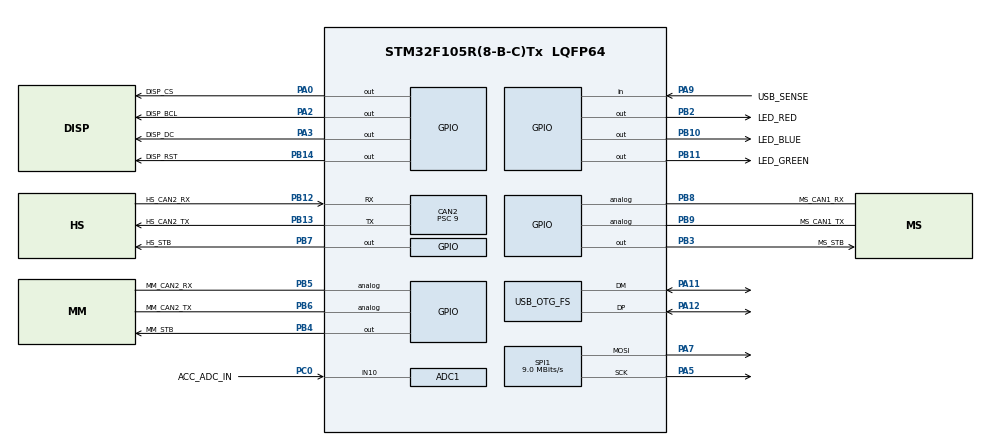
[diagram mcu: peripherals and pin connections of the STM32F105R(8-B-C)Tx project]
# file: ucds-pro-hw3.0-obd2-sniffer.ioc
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ADC1.Channel-0\#ChannelRegularConversion=ADC_CHANNEL_10
ADC1.NbrOfConversionFlag=1
ADC1.Rank-0\#ChannelRegularConversion=1
ADC1.SamplingTime-0\#ChannelRegularConversion=ADC_SAMPLETIME_239CYCLES_5
ADC1.master=1
CAN2.ABOM=DISABLE
CAN2.AWUM=DISABLE
CAN2.BS1=CAN_BS1_6TQ
CAN2.CalculateBaudRate=500000
CAN2.CalculateTimeBit=2000
CAN2.CalculateTimeQuantum=250.0
CAN2.Mode=CAN_MODE_NORMAL
CAN2.Prescaler=9
CAN2.SJW=CAN_SJW_1TQ
IWDG.Prescaler=IWDG_PRESCALER_16
Mcu.Family=STM32F1
Mcu.Name=STM32F105R(8-B-C)Tx
Mcu.Package=LQFP64
NVIC.CAN2_RX0_IRQn=true\:5\:0\:true\:false\:true\:true\:true\:true
NVIC.CAN2_TX_IRQn=true\:5\:0\:true\:false\:true\:true\:true\:true
NVIC.OTG_FS_IRQn=true\:0\:0\:false\:false\:true\:false\:true\:true
NVIC.PriorityGroup=NVIC_PRIORITYGROUP_4
PA0-WKUP.GPIO_Label=DISP_CS
PA0-WKUP.Signal=GPIO_Output
PA11.Mode=Device_Only
PA11.Signal=USB_OTG_FS_DM
PA12.Mode=Device_Only
PA12.Signal=USB_OTG_FS_DP
PA13.Mode=Serial_Wire
PA13.Signal=SYS_JTMS-SWDIO
PA14.Mode=Serial_Wire
PA14.Signal=SYS_JTCK-SWCLK
PA2.GPIO_Label=DISP_BCL
PA2.Signal=GPIO_Output
PA3.GPIO_Label=DISP_DC
PA3.Signal=GPIO_Output
PA5.Mode=TX_Only_Simplex_Unidirect_Master
PA5.Signal=SPI1_SCK
PA7.Mode=TX_Only_Simplex_Unidirect_Master
PA7.Signal=SPI1_MOSI
PA9.GPIO_Label=USB_SENSE
PA9.Signal=GPIO_Input
PB10.GPIO_Label=LED_BLUE
PB10.GPIO_ModeDefaultOutputPP=GPIO_MODE_OUTPUT_OD
PB10.GPIO_PuPd=GPIO_NOPULL
PB10.PinState=GPIO_PIN_SET
PB10.Signal=GPIO_Output
PB11.GPIO_Label=LED_GREEN
PB11.GPIO_ModeDefaultOutputPP=GPIO_MODE_OUTPUT_OD
PB11.GPIO_PuPd=GPIO_NOPULL
PB11.PinState=GPIO_PIN_SET
PB11.Signal=GPIO_Output
PB12.GPIO_Label=HS_CAN2_RX
PB12.Mode=CAN_Activate
PB12.Signal=CAN2_RX
PB13.GPIO_Label=HS_CAN2_TX
PB13.Mode=CAN_Activate
PB13.Signal=CAN2_TX
PB14.GPIO_Label=DISP_RST
PB14.Signal=GPIO_Output
PB2.GPIO_Label=LED_RED
PB2.GPIO_ModeDefaultOutputPP=GPIO_MODE_OUTPUT_OD
PB2.GPIO_PuPd=GPIO_NOPULL
PB2.PinState=GPIO_PIN_SET
PB2.Signal=GPIO_Output
PB3.GPIO_Label=MS_STB
PB3.GPIO_ModeDefaultOutputPP=GPIO_MODE_OUTPUT_OD
PB3.GPIO_PuPd=GPIO_NOPULL
PB3.PinState=GPIO_PIN_SET
PB3.Signal=GPIO_Output
PB4.GPIO_Label=MM_STB
PB4.GPIO_ModeDefaultOutputPP=GPIO_MODE_OUTPUT_OD
PB4.GPIO_PuPd=GPIO_NOPULL
PB4.PinState=GPIO_PIN_SET
PB4.Signal=GPIO_Output
PB5.GPIO_Label=MM_CAN2_RX
PB5.Signal=GPIO_Analog
PB6.GPIO_Label=MM_CAN2_TX
PB6.Signal=GPIO_Analog
PB7.GPIO_Label=HS_STB
PB7.GPIO_ModeDefaultOutputPP=GPIO_MODE_OUTPUT_OD
PB7.GPIO_PuPd=GPIO_NOPULL
PB7.PinState=GPIO_PIN_SET
PB7.Signal=GPIO_Output
PB8.GPIO_Label=MS_CAN1_RX
PB8.Signal=GPIO_Analog
PB9.GPIO_Label=MS_CAN1_TX
PB9.Signal=GPIO_Analog
PC0.GPIO_Label=ACC_ADC_IN
PC0.Signal=ADCx_IN10
PD0-OSC_IN.Mode=HSE-External-Oscillator
PD0-OSC_IN.Signal=RCC_OSC_IN
PD1-OSC_OUT.Mode=HSE-External-Oscillator
PD1-OSC_OUT.Signal=RCC_OSC_OUT
ProjectManager.HeapSize=0x400
ProjectManager.StackSize=0x800
ProjectManager.TargetToolchain=STM32CubeIDE
RCC.ADCPresc=RCC_ADCPCLK2_DIV6
RCC.AHBFreq_Value=72000000
RCC.APB1CLKDivider=RCC_HCLK_DIV2
RCC.APB1Freq_Value=36000000
RCC.APB1TimFreq_Value=72000000
RCC.APB2Freq_Value=72000000
RCC.APB2TimFreq_Value=72000000
RCC.HCLKFreq_Value=72000000
RCC.PLLMUL=RCC_PLL_MUL9
RCC.PLLSourceVirtual=RCC_PLLSOURCE_HSE
RCC.SYSCLKFreq_VALUE=72000000
RCC.SYSCLKSource=RCC_SYSCLKSOURCE_PLLCLK
RCC.USBFreq_Value=48000000
SH.ADCx_IN10.0=ADC1_IN10,IN10
SPI1.BaudRatePrescaler=SPI_BAUDRATEPRESCALER_8
SPI1.CalculateBaudRate=9.0 MBits/s
SPI1.Direction=SPI_DIRECTION_2LINES
SPI1.Mode=SPI_MODE_MASTER
SPI1.VirtualType=VM_MASTER
USB_DEVICE.CLASS_NAME_FS=CDC
USB_DEVICE.VirtualMode=Cdc
USB_DEVICE.VirtualModeFS=Cdc_FS
USB_OTG_FS.VirtualMode=Device_Only
VP_IWDG_VS_IWDG.Mode=IWDG_Activate
VP_USB_DEVICE_VS_USB_DEVICE_CDC_FS.Mode=CDC_FS
board=custom

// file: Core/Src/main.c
/* USER CODE BEGIN Header */
/**
  ******************************************************************************
  * @file           : main.c
  * @brief          : Main program body
  ******************************************************************************
  * @attention
  *
  * Copyright (c) 2025 STMicroelectronics.
  * All rights reserved.
  *
  * This software is licensed under terms that can be found in the LICENSE file
  * in the root directory of this software component.
  * If no LICENSE file comes with this software, it is provided AS-IS.
  *
  ******************************************************************************
  */
/* USER CODE END Header */
#include "main.h"
#include "adc.h"
#include "can.h"
#include "iwdg.h"
#include "spi.h"
#include "usb_device.h"
#include "gpio.h"

/* USER CODE BEGIN Includes */
#include "lawicel_can.h"
/* USER CODE END Includes */

/* USER CODE BEGIN PV */
uint32_t error_led_timer = 0;
uint32_t can_packet_rx_led_timer = 0;
uint32_t pid_to_request = 0;

#define BATTERY_VOLTAGE_UPDATE_PERIOD 			(500)
int32_t temperature = 0;
int32_t battery_voltage_mv = 0;
uint32_t battery_voltage_update_timer = 0;

gfx8_display_driver_t st7565_driver = {
		.width = ST7565_WIDTH, .height = ST7565_HEIGHT,
		.init = ST7565_Init,
		.clear = ST7565_Clear,
		.draw = ST7565_Update,
		.get_buffer = ST7565_GetFramebuffer,
		.set_backlight = ST7565_Backlight,
		.get_backlight = ST7565_GetBacklightState,
		.sleep = ST7565_Sleep
};

ecu_data_t ecu = {0};

/* USER CODE END PV */

void SystemClock_Config(void);

/* USER CODE BEGIN 0 */
void SysTick_Interrupt(void){
	if(error_led_timer){
		error_led_timer--;
		if(error_led_timer == 0){
			LED_RED_OFF();
		}
	}

	if(battery_voltage_update_timer){
		battery_voltage_update_timer--;
	}

	if(can_packet_rx_led_timer){
		can_packet_rx_led_timer--;
		if(can_packet_rx_led_timer == 0){
			LED_GREEN_OFF();
		}
	}

	obd2_tick(1);
	SCREEN_Tick(1);
}

void Can_LedBlinkOnPacketReceived(void){
	if(can_packet_rx_led_timer){
		return;
	}

	can_packet_rx_led_timer = 5;
	LED_GREEN_ON();
}

void Error_LedShortBlink(void){
	if(error_led_timer){
		return;
	}

	error_led_timer = 50;
	LED_RED_ON();
}
/* USER CODE END 0 */

int main(void)
{

  /* MCU Configuration--------------------------------------------------------*/

  /* Reset of all peripherals, Initializes the Flash interface and the Systick. */
  HAL_Init();

  /* Configure the system clock */
  SystemClock_Config();

  /* USER CODE BEGIN SysInit */
  console_init();
  /* USER CODE END SysInit */

  /* Initialize all configured peripherals */
  MX_GPIO_Init();
  MX_CAN2_Init();
  MX_USB_DEVICE_Init();
  MX_ADC1_Init();
  MX_IWDG_Init();
  MX_SPI1_Init();
  /* USER CODE BEGIN 2 */

//  obd2_init();
//  obd2_set_refresh_rate(500);
//
//  /* Initialize ST7565 display */
//	G8Lib_Init(&st7565_driver);
//	G8Lib_GetDisplayDrv()->set_backlight(false);
//	G8Lib_GetDisplayDrv()->sleep(false);
//
//	/* Start graphic application */
//	SCREEN_Init();
//	SCREEN_Set(&logo_screen);

	adc_measure(ADC_TEMPERATURE_C, &temperature);
	adc_measure(ADC_VEHICLE_VOLTAGE, &battery_voltage_mv);
	console_print("Device started! TEMP=%dC, VREF=%dmV, ACC=%dmV\r\n", temperature, adc_get_measured_vref(), battery_voltage_mv);
  /* USER CODE END 2 */

  /* Infinite loop */
  while (1)
  {

    /* USER CODE BEGIN 3 */
	  if(battery_voltage_update_timer == 0){
		  battery_voltage_update_timer = BATTERY_VOLTAGE_UPDATE_PERIOD;
		  adc_measure(ADC_VEHICLE_VOLTAGE, &battery_voltage_mv);
		  //SCREEN_Refresh();
	  }

//	  if(pid_to_request){
//		  pid_to_request = 0;
//		  obd2_request_pid(pid_to_request);
//	  }
//
//	  obd2_main();
//	  SCREEN_Main();
	  console_main();
	  HAL_IWDG_Refresh(&hiwdg);
  }
  /* USER CODE END 3 */
}

void SystemClock_Config(void)
{
  LL_FLASH_SetLatency(LL_FLASH_LATENCY_2);
  while(LL_FLASH_GetLatency()!= LL_FLASH_LATENCY_2)
  {
  }
  LL_RCC_HSE_Enable();

   /* Wait till HSE is ready */
  while(LL_RCC_HSE_IsReady() != 1)
  {

  }
  LL_RCC_LSI_Enable();

   /* Wait till LSI is ready */
  while(LL_RCC_LSI_IsReady() != 1)
  {

  }
  LL_RCC_PLL_ConfigDomain_SYS(LL_RCC_PLLSOURCE_HSE_DIV_1, LL_RCC_PLL_MUL_9);
  LL_RCC_PLL_Enable();

   /* Wait till PLL is ready */
  while(LL_RCC_PLL_IsReady() != 1)
  {

  }
  LL_RCC_SetAHBPrescaler(LL_RCC_SYSCLK_DIV_1);
  LL_RCC_SetAPB1Prescaler(LL_RCC_APB1_DIV_2);
  LL_RCC_SetAPB2Prescaler(LL_RCC_APB2_DIV_1);
  LL_RCC_SetSysClkSource(LL_RCC_SYS_CLKSOURCE_PLL);

   /* Wait till System clock is ready */
  while(LL_RCC_GetSysClkSource() != LL_RCC_SYS_CLKSOURCE_STATUS_PLL)
  {

  }
  LL_SetSystemCoreClock(72000000);

   /* Update the time base */
  if (HAL_InitTick (TICK_INT_PRIORITY) != HAL_OK)
  {
    Error_Handler();
  }
  LL_RCC_SetADCClockSource(LL_RCC_ADC_CLKSRC_PCLK2_DIV_6);
  LL_RCC_SetUSBClockSource(LL_RCC_USB_CLKSOURCE_PLL_DIV_3);
}

void Error_Handler(void)
{
  __disable_irq();
  while (1)
  {
  }
}
